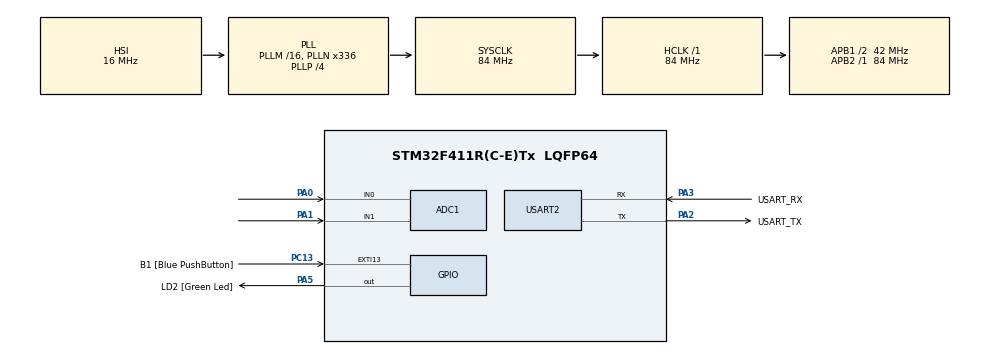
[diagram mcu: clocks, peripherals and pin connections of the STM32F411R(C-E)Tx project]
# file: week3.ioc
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ADC1.Channel-0\#ChannelRegularConversion=ADC_CHANNEL_0
ADC1.NbrOfConversionFlag=1
ADC1.Rank-0\#ChannelRegularConversion=1
ADC1.SamplingTime-0\#ChannelRegularConversion=ADC_SAMPLETIME_3CYCLES
ADC1.master=1
Mcu.Family=STM32F4
Mcu.Name=STM32F411R(C-E)Tx
Mcu.Package=LQFP64
NVIC.PriorityGroup=NVIC_PRIORITYGROUP_0
PA0-WKUP.Signal=ADCx_IN0
PA1.Signal=ADCx_IN1
PA13.GPIO_Label=TMS
PA13.Mode=Serial_Wire
PA13.Signal=SYS_JTMS-SWDIO
PA14.GPIO_Label=TCK
PA14.Mode=Serial_Wire
PA14.Signal=SYS_JTCK-SWCLK
PA2.GPIO_Label=USART_TX
PA2.Mode=Asynchronous
PA2.Signal=USART2_TX
PA3.GPIO_Label=USART_RX
PA3.Mode=Asynchronous
PA3.Signal=USART2_RX
PA5.GPIO_Label=LD2 [Green Led]
PA5.Signal=GPIO_Output
PB3.GPIO_Label=SWO
PB3.Signal=SYS_JTDO-SWO
PC13-ANTI_TAMP.GPIO_Label=B1 [Blue PushButton]
PC13-ANTI_TAMP.GPIO_ModeDefaultEXTI=GPIO_MODE_IT_FALLING
PC13-ANTI_TAMP.Signal=GPXTI13
PC14-OSC32_IN.Mode=LSE-External-Oscillator
PC14-OSC32_IN.Signal=RCC_OSC32_IN
PC15-OSC32_OUT.Mode=LSE-External-Oscillator
PC15-OSC32_OUT.Signal=RCC_OSC32_OUT
PH0\ -\ OSC_IN.Mode=HSE-External-Clock-Source
PH0\ -\ OSC_IN.Signal=RCC_OSC_IN
PH1\ -\ OSC_OUT.Mode=HSE-External-Clock-Source
PH1\ -\ OSC_OUT.Signal=RCC_OSC_OUT
ProjectManager.HeapSize=0x200
ProjectManager.StackSize=0x400
ProjectManager.TargetToolchain=STM32CubeIDE
RCC.48MHZClocksFreq_Value=84000000
RCC.AHBFreq_Value=84000000
RCC.APB1CLKDivider=RCC_HCLK_DIV2
RCC.APB1Freq_Value=42000000
RCC.APB1TimFreq_Value=84000000
RCC.APB2Freq_Value=84000000
RCC.APB2TimFreq_Value=84000000
RCC.CortexFreq_Value=84000000
RCC.FLatency-AdvancedSettings=FLASH_LATENCY_2
RCC.HCLKFreq_Value=84000000
RCC.HSE_VALUE=8000000
RCC.HSI_VALUE=16000000
RCC.PLLN=336
RCC.PLLP=RCC_PLLP_DIV4
RCC.SYSCLKFreq_VALUE=84000000
RCC.SYSCLKSource=RCC_SYSCLKSOURCE_PLLCLK
RCC.VCOOutputFreq_Value=336000000
SH.ADCx_IN0.0=ADC1_IN0,IN0
SH.ADCx_IN1.0=ADC1_IN1,IN1
USART2.VirtualMode=VM_ASYNC
VP_ADC1_TempSens_Input.Mode=IN-TempSens
board=NUCLEO-F411RE

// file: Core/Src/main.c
/* USER CODE BEGIN Header */
/**
  ******************************************************************************
  * @file           : main.c
  * @brief          : Main program body
  ******************************************************************************
  * @attention
  *
  * <h2><center>&copy; Copyright (c) 2021 STMicroelectronics.
  * All rights reserved.</center></h2>
  *
  * This software component is licensed by ST under BSD 3-Clause license,
  * the "License"; You may not use this file except in compliance with the
  * License. You may obtain a copy of the License at:
  *                        opensource.org/licenses/BSD-3-Clause
  *
  ******************************************************************************
  */
/* USER CODE END Header */
#include "main.h"

ADC_HandleTypeDef hadc1;

UART_HandleTypeDef huart2;

/* USER CODE BEGIN PV */
typedef struct
{
	ADC_ChannelConfTypeDef Config;
	uint32_t Data;
} ADCStructure;

ADCStructure ADCChannel[3] = {0};
uint8_t ADCMode = 0;
float ADCOutputConverted = 0;
uint32_t ButtonTimeStamp = 0;
uint8_t SwitchState1[2] = {0};

/* USER CODE END PV */

void SystemClock_Config(void);
static void MX_GPIO_Init(void);
static void MX_USART2_UART_Init(void);
static void MX_ADC1_Init(void);
/* USER CODE BEGIN PFP */
void ADCPollingMethodUpdate(); // read ADC from 3 source(In0,In1,)
/* USER CODE END PFP */
void ADCPollingMethodInit();
void ADCPollingMethodUpdate();

int main(void)
{

  /* MCU Configuration--------------------------------------------------------*/

  /* Reset of all peripherals, Initializes the Flash interface and the Systick. */
  HAL_Init();

  /* Configure the system clock */
  SystemClock_Config();

  /* Initialize all configured peripherals */
  MX_GPIO_Init();
  MX_USART2_UART_Init();
  MX_ADC1_Init();
  /* USER CODE BEGIN 2 */
  ADCPollingMethodInit();
  /* USER CODE END 2 */

  /* Infinite loop */
  /* USER CODE BEGIN WHILE */
  while (1)
  {
	ADCPollingMethodUpdate();
	if(HAL_GetTick() - ButtonTimeStamp >= 100)
	{
		ButtonTimeStamp = HAL_GetTick();
		SwitchState1[0] = HAL_GPIO_ReadPin(GPIOC, GPIO_PIN_13);
		if(SwitchState1[0] == GPIO_PIN_RESET && SwitchState1[1] == GPIO_PIN_SET)
		{
			if(ADCMode == 1)
			{
				ADCMode = 0;
			}
			else
			{
				ADCMode = 1;
			}
		}
		SwitchState1[1] = SwitchState1[0];
	}
	if(ADCMode == 0)
	{
		ADCOutputConverted = (ADCChannel[0].Data*1000*3.3)/(4096.0);
	}
	else if(ADCMode == 1)
	{
		ADCOutputConverted = (((ADCChannel[2].Data/4096.0*3.3) - 0.76)/0.0025) + 25.0;
	}

    /* USER CODE END WHILE */

  }
}

void SystemClock_Config(void)
{
  RCC_OscInitTypeDef RCC_OscInitStruct = {0};
  RCC_ClkInitTypeDef RCC_ClkInitStruct = {0};

  /** Configure the main internal regulator output voltage
  */
  __HAL_RCC_PWR_CLK_ENABLE();
  __HAL_PWR_VOLTAGESCALING_CONFIG(PWR_REGULATOR_VOLTAGE_SCALE1);
  /** Initializes the RCC Oscillators according to the specified parameters
  * in the RCC_OscInitTypeDef structure.
  */
  RCC_OscInitStruct.OscillatorType = RCC_OSCILLATORTYPE_HSI;
  RCC_OscInitStruct.HSIState = RCC_HSI_ON;
  RCC_OscInitStruct.HSICalibrationValue = RCC_HSICALIBRATION_DEFAULT;
  RCC_OscInitStruct.PLL.PLLState = RCC_PLL_ON;
  RCC_OscInitStruct.PLL.PLLSource = RCC_PLLSOURCE_HSI;
  RCC_OscInitStruct.PLL.PLLM = 16;
  RCC_OscInitStruct.PLL.PLLN = 336;
  RCC_OscInitStruct.PLL.PLLP = RCC_PLLP_DIV4;
  RCC_OscInitStruct.PLL.PLLQ = 4;
  if (HAL_RCC_OscConfig(&RCC_OscInitStruct) != HAL_OK)
  {
    Error_Handler();
  }
  /** Initializes the CPU, AHB and APB buses clocks
  */
  RCC_ClkInitStruct.ClockType = RCC_CLOCKTYPE_HCLK|RCC_CLOCKTYPE_SYSCLK
                              |RCC_CLOCKTYPE_PCLK1|RCC_CLOCKTYPE_PCLK2;
  RCC_ClkInitStruct.SYSCLKSource = RCC_SYSCLKSOURCE_PLLCLK;
  RCC_ClkInitStruct.AHBCLKDivider = RCC_SYSCLK_DIV1;
  RCC_ClkInitStruct.APB1CLKDivider = RCC_HCLK_DIV2;
  RCC_ClkInitStruct.APB2CLKDivider = RCC_HCLK_DIV1;

  if (HAL_RCC_ClockConfig(&RCC_ClkInitStruct, FLASH_LATENCY_2) != HAL_OK)
  {
    Error_Handler();
  }
}

static void MX_ADC1_Init(void)
{

  ADC_ChannelConfTypeDef sConfig = {0};

  /** Configure the global features of the ADC (Clock, Resolution, Data Alignment and number of conversion)
  */
  hadc1.Instance = ADC1;
  hadc1.Init.ClockPrescaler = ADC_CLOCK_SYNC_PCLK_DIV4;
  hadc1.Init.Resolution = ADC_RESOLUTION_12B;
  hadc1.Init.ScanConvMode = DISABLE;
  hadc1.Init.ContinuousConvMode = DISABLE;
  hadc1.Init.DiscontinuousConvMode = DISABLE;
  hadc1.Init.ExternalTrigConvEdge = ADC_EXTERNALTRIGCONVEDGE_NONE;
  hadc1.Init.ExternalTrigConv = ADC_SOFTWARE_START;
  hadc1.Init.DataAlign = ADC_DATAALIGN_RIGHT;
  hadc1.Init.NbrOfConversion = 1;
  hadc1.Init.DMAContinuousRequests = DISABLE;
  hadc1.Init.EOCSelection = ADC_EOC_SINGLE_CONV;
  if (HAL_ADC_Init(&hadc1) != HAL_OK)
  {
    Error_Handler();
  }
  /** Configure for the selected ADC regular channel its corresponding rank in the sequencer and its sample time.
  */
  sConfig.Channel = ADC_CHANNEL_0;
  sConfig.Rank = 1;
  sConfig.SamplingTime = ADC_SAMPLETIME_3CYCLES;
  if (HAL_ADC_ConfigChannel(&hadc1, &sConfig) != HAL_OK)
  {
    Error_Handler();
  }

}

static void MX_USART2_UART_Init(void)
{

  huart2.Instance = USART2;
  huart2.Init.BaudRate = 115200;
  huart2.Init.WordLength = UART_WORDLENGTH_8B;
  huart2.Init.StopBits = UART_STOPBITS_1;
  huart2.Init.Parity = UART_PARITY_NONE;
  huart2.Init.Mode = UART_MODE_TX_RX;
  huart2.Init.HwFlowCtl = UART_HWCONTROL_NONE;
  huart2.Init.OverSampling = UART_OVERSAMPLING_16;
  if (HAL_UART_Init(&huart2) != HAL_OK)
  {
    Error_Handler();
  }

}

static void MX_GPIO_Init(void)
{
  GPIO_InitTypeDef GPIO_InitStruct = {0};

  /* GPIO Ports Clock Enable */
  __HAL_RCC_GPIOC_CLK_ENABLE();
  __HAL_RCC_GPIOH_CLK_ENABLE();
  __HAL_RCC_GPIOA_CLK_ENABLE();
  __HAL_RCC_GPIOB_CLK_ENABLE();

  /*Configure GPIO pin Output Level */
  HAL_GPIO_WritePin(LD2_GPIO_Port, LD2_Pin, GPIO_PIN_RESET);

  /*Configure GPIO pin : B1_Pin */
  GPIO_InitStruct.Pin = B1_Pin;
  GPIO_InitStruct.Mode = GPIO_MODE_IT_FALLING;
  GPIO_InitStruct.Pull = GPIO_NOPULL;
  HAL_GPIO_Init(B1_GPIO_Port, &GPIO_InitStruct);

  /*Configure GPIO pin : LD2_Pin */
  GPIO_InitStruct.Pin = LD2_Pin;
  GPIO_InitStruct.Mode = GPIO_MODE_OUTPUT_PP;
  GPIO_InitStruct.Pull = GPIO_NOPULL;
  GPIO_InitStruct.Speed = GPIO_SPEED_FREQ_LOW;
  HAL_GPIO_Init(LD2_GPIO_Port, &GPIO_InitStruct);

}

/* USER CODE BEGIN 4 */

void ADCPollingMethodInit()
{
	//PA0 - ADC INO
	ADCChannel[0].Config.Channel = ADC_CHANNEL_0;
	ADCChannel[0].Config.Rank = 1;
	ADCChannel[0].Config.SamplingTime = ADC_SAMPLETIME_3CYCLES;

	//PA0 - ADC INO
	ADCChannel[1].Config.Channel = ADC_CHANNEL_1;
	ADCChannel[1].Config.Rank = 1;
	ADCChannel[1].Config.SamplingTime = ADC_SAMPLETIME_3CYCLES;

	//PA0 - ADC INO
	ADCChannel[2].Config.Channel = ADC_CHANNEL_TEMPSENSOR;
	ADCChannel[2].Config.Rank = 1;
	ADCChannel[2].Config.SamplingTime = ADC_SAMPLETIME_3CYCLES;

}

void ADCPollingMethodUpdate()
{
	for(int i =0;i<3;i++)
	{
		//select channel
		HAL_ADC_ConfigChannel(&hadc1,&ADCChannel[i].Config);

		//ADC Sampling ,Convert
		HAL_ADC_Start(&hadc1);

		//Wait ADC
		if(HAL_ADC_PollForConversion(&hadc1, 10) == HAL_OK)
		{
			//Get Value
			ADCChannel[i].Data = HAL_ADC_GetValue(&hadc1);
		}

		//Stop
		HAL_ADC_Stop(&hadc1);
	}

}
/* USER CODE END 4 */

void Error_Handler(void)
{
  __disable_irq();
  while (1)
  {
  }
}

/************************ (C) COPYRIGHT STMicroelectronics *****END OF FILE****/
